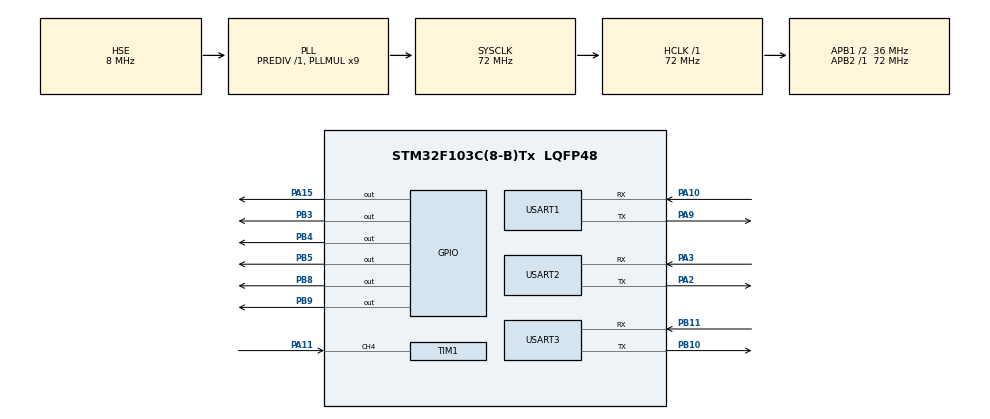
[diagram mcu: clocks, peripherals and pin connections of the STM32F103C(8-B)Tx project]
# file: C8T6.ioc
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Dma.Request0=USART2_RX
Dma.USART2_RX.0.Direction=DMA_PERIPH_TO_MEMORY
Dma.USART2_RX.0.Instance=DMA1_Channel6
Dma.USART2_RX.0.MemDataAlignment=DMA_MDATAALIGN_BYTE
Dma.USART2_RX.0.MemInc=DMA_MINC_ENABLE
Dma.USART2_RX.0.Mode=DMA_NORMAL
Dma.USART2_RX.0.PeriphDataAlignment=DMA_PDATAALIGN_BYTE
Dma.USART2_RX.0.PeriphInc=DMA_PINC_DISABLE
Dma.USART2_RX.0.Priority=DMA_PRIORITY_LOW
Mcu.Family=STM32F1
Mcu.Name=STM32F103C(8-B)Tx
Mcu.Package=LQFP48
NVIC.DMA1_Channel6_IRQn=true\:0\:0\:false\:false\:true\:false\:true
NVIC.PriorityGroup=NVIC_PRIORITYGROUP_4
NVIC.TIM1_CC_IRQn=true\:0\:0\:false\:false\:true\:true\:true
NVIC.TIM2_IRQn=true\:0\:0\:false\:false\:true\:true\:true
NVIC.USART2_IRQn=true\:0\:0\:false\:false\:true\:true\:true
NVIC.USART3_IRQn=true\:0\:0\:false\:false\:true\:true\:true
PA10.Mode=Asynchronous
PA10.Signal=USART1_RX
PA11.Signal=S_TIM1_CH4
PA13.Mode=Serial_Wire
PA13.Signal=SYS_JTMS-SWDIO
PA14.Mode=Serial_Wire
PA14.Signal=SYS_JTCK-SWCLK
PA15.Signal=GPIO_Output
PA2.Mode=Asynchronous
PA2.Signal=USART2_TX
PA3.Mode=Asynchronous
PA3.Signal=USART2_RX
PA9.Mode=Asynchronous
PA9.Signal=USART1_TX
PB10.Mode=Asynchronous
PB10.Signal=USART3_TX
PB11.Mode=Asynchronous
PB11.Signal=USART3_RX
PB3.Signal=GPIO_Output
PB4.Signal=GPIO_Output
PB5.Signal=GPIO_Output
PB8.Signal=GPIO_Output
PB9.Signal=GPIO_Output
PD0-OSC_IN.Mode=HSE-External-Oscillator
PD0-OSC_IN.Signal=RCC_OSC_IN
PD1-OSC_OUT.Mode=HSE-External-Oscillator
PD1-OSC_OUT.Signal=RCC_OSC_OUT
ProjectManager.HeapSize=0x200
ProjectManager.StackSize=0x400
ProjectManager.TargetToolchain=MDK-ARM V5.32
RCC.AHBFreq_Value=72000000
RCC.APB1CLKDivider=RCC_HCLK_DIV2
RCC.APB1Freq_Value=36000000
RCC.APB1TimFreq_Value=72000000
RCC.APB2Freq_Value=72000000
RCC.APB2TimFreq_Value=72000000
RCC.HCLKFreq_Value=72000000
RCC.PLLMUL=RCC_PLL_MUL9
RCC.PLLSourceVirtual=RCC_PLLSOURCE_HSE
RCC.SYSCLKFreq_VALUE=72000000
RCC.SYSCLKSource=RCC_SYSCLKSOURCE_PLLCLK
RCC.USBFreq_Value=72000000
SH.S_TIM1_CH4.0=TIM1_CH4,Input_Capture4_from_TI4
TIM1.Channel-Input_Capture4_from_TI4=TIM_CHANNEL_4
TIM1.Prescaler=71
USART1.VirtualMode=VM_ASYNC
USART2.VirtualMode=VM_ASYNC
USART3.VirtualMode=VM_ASYNC
VP_TIM1_VS_ClockSourceINT.Mode=Internal
VP_TIM2_VS_ClockSourceINT.Mode=Internal
board=custom

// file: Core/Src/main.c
/* USER CODE BEGIN Header */
/**
  ******************************************************************************
  * @file           : main.c
  * @brief          : Main program body
  ******************************************************************************
  * @attention
  *
  * <h2><center>&copy; Copyright (c) 2022 STMicroelectronics.
  * All rights reserved.</center></h2>
  *
  * This software component is licensed by ST under BSD 3-Clause license,
  * the "License"; You may not use this file except in compliance with the
  * License. You may obtain a copy of the License at:
  *                        opensource.org/licenses/BSD-3-Clause
  *
  ******************************************************************************
  */
/* USER CODE END Header */
#include "main.h"
#include "dma.h"
#include "tim.h"
#include "usart.h"
#include "gpio.h"
/* USER CODE BEGIN Includes */
#include "LCD.h"
#include "pic.h"
#include <string.h>
#include "delay.h"
#include <stdio.h>
#include "QR.h"
#include "Rudder_control.h"
#include "iic.h"
#define one 0x31
#define two 0x32
/* USER CODE END Includes */
typedef struct{
	TIM_HandleTypeDef TIM;
	GPIO_TypeDef* GPIO_2;//B相
  uint32_t GPIO_PORT_2;
	uint32_t Channel;			//A相
	uint32_t ActiveChannel;
}wheel;

wheel wheel_1;

uint8_t capture_Cnt[4] = {0};
uint32_t capture_Buf_before[4] = {0},capture_Buf_latter[4] = {0};   //存放计数时间
uint32_t temp_time[4][8] = {0};        			//高电平暂存时间
volatile uint32_t high_time[4] = {0};        			//高电平时间
uint32_t real_time[4] = {0};    					//CCR真实计时
uint8_t frist_flag[4]={0};								  //第一次收集八个数据的标志
uint8_t temp_i[4]={0};
float bo_distance = 0;

void SystemClock_Config(void);

int main(void)
 {

  /* MCU Configuration--------------------------------------------------------*/

  /* Reset of all peripherals, Initializes the Flash interface and the Systick. */
  HAL_Init();

  /* Configure the system clock */
  SystemClock_Config();

  /* Initialize all configured peripherals */
  MX_GPIO_Init();
  MX_DMA_Init();
  MX_TIM1_Init();
  MX_TIM2_Init();
  MX_USART1_UART_Init();
  MX_USART2_UART_Init();
  MX_USART3_UART_Init();
  /* USER CODE BEGIN 2 */
	delay_init();
	QR_init();
	LCD_Init();//LED初始化
	LCD_Fill(0,0,160,128,WHITE);
	LCD_ShowPicture(8,0,143,128,gImage_1);
	Rudder_Init(50);
//	Rudder_control(480,0);//1号380开 480关
//	Rudder_control(250,15);//2号350开 250关

//LCD_ShowPicture(8,0,142,128,gImage_2);
  /* USER CODE END 2 */
	wheel_1.TIM = htim1;
	wheel_1.Channel = TIM_CHANNEL_4;
	wheel_1.ActiveChannel = HAL_TIM_ACTIVE_CHANNEL_4;
	HAL_TIM_IC_Start_IT(&(wheel_1.TIM), wheel_1.Channel);	  //启动输入捕获
	__HAL_TIM_SET_CAPTUREPOLARITY(&wheel_1.TIM, wheel_1.Channel, TIM_INPUTCHANNELPOLARITY_RISING);  //开启上升沿捕获

	for(uint8_t i =0;i<8;i++){
		HAL_GPIO_WritePin(GPIOB,GPIO_PIN_15,GPIO_PIN_SET);
		delay_us(20);
		HAL_GPIO_WritePin(GPIOB,GPIO_PIN_15,GPIO_PIN_RESET);
		HAL_Delay(60);
	}
	bo_distance = (((float)high_time[0])*170.0f);
	uint8_t BO_DATA[4] = {0xFF,0X0,0X0,0X0};
	uint8_t QR_DATA[4] = {0X55,0X0,0X0,0x0};
    Rudder_control(480,0);
	Rudder_control(250,15);
//	Rudder_control(350,0);
//	Rudder_control(400,15);
	uint8_t time=0;
  /* Infinite loop */
  while (1)
  {

		HAL_GPIO_WritePin(GPIOB,GPIO_PIN_15,GPIO_PIN_SET);
		delay_us(20);
		HAL_GPIO_WritePin(GPIOB,GPIO_PIN_15,GPIO_PIN_RESET);
		bo_distance = (((float)high_time[0])*0.17f);  //单位毫米
		BO_DATA[1] = (uint16_t)bo_distance/256;
		BO_DATA[2] = (uint16_t)bo_distance%256;
		BO_DATA[3] = (uint8_t)(BO_DATA[0]+ BO_DATA[1]+BO_DATA[2]);
		HAL_UART_Transmit(&huart1,BO_DATA,4,0xffff);
		HAL_Delay(30);
		if(QR_flag==1){
			QR_flag = 0;
			if((QR_information[0]==one||QR_information[0]==two)&&(QR_information[1]==one||QR_information[1]==two)){
				if(QR_information[0]==one){
					QR_DATA[1] = 0X1;
				}
				else {
					QR_DATA[1] = 0X2;
				}

				if(QR_information[1]==one){
					QR_DATA[2] = 0X1;
				}
				else {
					QR_DATA[2] = 0X2;
				}
				QR_DATA[3] = (uint8_t)(QR_DATA[0]+QR_DATA[1]+QR_DATA[2]);
				while((USART1->SR&0X40)==0);//等待超声波发送完成
				HAL_UART_Transmit(&huart1,QR_DATA,4,0xffff);
		  }
		}
		HAL_Delay(30);
	   if(time==0)//出发时
	   {
		   if(QR_information[0]==0x31)
		   {
			   Rudder_control(350,0);//开1号门

		   }
		   else if(QR_information[0]==0x32)
		   {
				Rudder_control(400,15);//开2号门
		   }
			if(HAL_GPIO_ReadPin(GPIOB,GPIO_PIN_1))
			{
				HAL_Delay(500);
				Rudder_control(480,0);//关
				QR_information[0]=0;
				QR_DATA[1]=0;
				QR_DATA[3] = (uint8_t)(QR_DATA[0]+QR_DATA[1]+QR_DATA[2]);
				HAL_Delay(500);//等待物料放进去
				for(int i=0;i<3;i++)//多次发送避免收不到
				{
					while((USART1->SR&0X40)==0);//等待超声波发送完成
					HAL_UART_Transmit(&huart1,QR_DATA,4,0xffff);
				}
				time=1;
			}
			if(HAL_GPIO_ReadPin(GPIOB,GPIO_PIN_0))
			{
				HAL_Delay(500);
				Rudder_control(250,15);//关
				QR_DATA[1]=0;
				QR_information[0]=0;
				QR_DATA[3] = (uint8_t)(QR_DATA[0]+QR_DATA[1]+QR_DATA[2]);
				HAL_Delay(500);
				for(int i=0;i<3;i++)
				{
					while((USART1->SR&0X40)==0);//等待超声波发送完成
					HAL_UART_Transmit(&huart1,QR_DATA,4,0xffff);
				}
				time=1;
			}

	   }
	    if(time==1&QR_information[0]!=0)//收货区扫到二维码
		{
			if(QR_information[0]==0x31)
			{
				QR_DATA[1] = 0X1;
				QR_DATA[3] = (uint8_t)(QR_DATA[0]+QR_DATA[1]+QR_DATA[2]);
				for(int i=0;i<10;i++)
				{
					while((USART1->SR&0X40)==0);
					HAL_UART_Transmit(&huart1,QR_DATA,4,0xffff);
				}
				Rudder_control(350,0);//开1号门
				while(HAL_GPIO_ReadPin(GPIOB,GPIO_PIN_1))
				{
					QR_information[0]=0;
					QR_DATA[1]=0;
					QR_DATA[3] = (uint8_t)(QR_DATA[0]+QR_DATA[1]+QR_DATA[2]);
				}//拿出物料

				HAL_Delay(500);
				 Rudder_control(480,0);//拿出物料关门

				for(int i=0;i<3;i++)
				{
					while((USART1->SR&0X40)==0);
					HAL_UART_Transmit(&huart1,QR_DATA,4,0xffff);
				}
			}
			else if(QR_information[0]==0X32)
			{
				QR_DATA[1] = 0X1;
				QR_DATA[3] = (uint8_t)(QR_DATA[0]+QR_DATA[1]+QR_DATA[2]);
				for(int i=0;i<10;i++)
				{
					while((USART1->SR&0X40)==0);//等待超声波发送完成
					HAL_UART_Transmit(&huart1,QR_DATA,4,0xffff);
				}
				Rudder_control(400,15);//开2号门
				while(HAL_GPIO_ReadPin(GPIOB,GPIO_PIN_0))
				{

					QR_information[0]=0;
					QR_DATA[1]=0;
					QR_DATA[3] = (uint8_t)(QR_DATA[0]+QR_DATA[1]+QR_DATA[2]);

				}
				 HAL_Delay(500);
				 Rudder_control(250,15);//拿出物料关门

				for(int i=0;i<3;i++)
				{
					while((USART1->SR&0X40)==0);//等待超声波发送完成
					HAL_UART_Transmit(&huart1,QR_DATA,4,0xffff);
				}
			}
		}
  }
}

void SystemClock_Config(void)
{
  RCC_OscInitTypeDef RCC_OscInitStruct = {0};
  RCC_ClkInitTypeDef RCC_ClkInitStruct = {0};

  /** Initializes the RCC Oscillators according to the specified parameters
  * in the RCC_OscInitTypeDef structure.
  */
  RCC_OscInitStruct.OscillatorType = RCC_OSCILLATORTYPE_HSE;
  RCC_OscInitStruct.HSEState = RCC_HSE_ON;
  RCC_OscInitStruct.HSEPredivValue = RCC_HSE_PREDIV_DIV1;
  RCC_OscInitStruct.HSIState = RCC_HSI_ON;
  RCC_OscInitStruct.PLL.PLLState = RCC_PLL_ON;
  RCC_OscInitStruct.PLL.PLLSource = RCC_PLLSOURCE_HSE;
  RCC_OscInitStruct.PLL.PLLMUL = RCC_PLL_MUL9;
  if (HAL_RCC_OscConfig(&RCC_OscInitStruct) != HAL_OK)
  {
    Error_Handler();
  }
  /** Initializes the CPU, AHB and APB buses clocks
  */
  RCC_ClkInitStruct.ClockType = RCC_CLOCKTYPE_HCLK|RCC_CLOCKTYPE_SYSCLK
                              |RCC_CLOCKTYPE_PCLK1|RCC_CLOCKTYPE_PCLK2;
  RCC_ClkInitStruct.SYSCLKSource = RCC_SYSCLKSOURCE_PLLCLK;
  RCC_ClkInitStruct.AHBCLKDivider = RCC_SYSCLK_DIV1;
  RCC_ClkInitStruct.APB1CLKDivider = RCC_HCLK_DIV2;
  RCC_ClkInitStruct.APB2CLKDivider = RCC_HCLK_DIV1;

  if (HAL_RCC_ClockConfig(&RCC_ClkInitStruct, FLASH_LATENCY_2) != HAL_OK)
  {
    Error_Handler();
  }
}

/* USER CODE BEGIN 4 */
void HAL_TIM_IC_CaptureCallback(TIM_HandleTypeDef *htim)
{
	//左上轮
	if(htim->Channel == wheel_1.ActiveChannel)
	{
		switch(capture_Cnt[0]){

			case 0:   //模式1   --------   捕获到上升沿 开始计时
				capture_Buf_before[0] = HAL_TIM_ReadCapturedValue(&(wheel_1.TIM),wheel_1.Channel);//获取当前的捕获值
				__HAL_TIM_SET_CAPTUREPOLARITY(&wheel_1.TIM,wheel_1.Channel,TIM_ICPOLARITY_FALLING);  //设置为下降沿捕获
				capture_Cnt[0]++; //从模式一切换到模式二
				break;

			  case 1:   //  模式二  --------   捕获到下降沿 关闭计时
				capture_Buf_latter[0] = HAL_TIM_ReadCapturedValue(&(wheel_1.TIM),wheel_1.Channel);//获取当前的捕获值
				HAL_TIM_IC_Stop_IT(&wheel_1.TIM,wheel_1.Channel); //停止捕获  或者: __HAL_TIM_DISABLE(&htim5);
				if(capture_Buf_latter[0]<capture_Buf_before[0]){       //溢出计算
				    real_time[0] = (65535-capture_Buf_before[0])+capture_Buf_latter[0] +1;
			   }
			 else{
						real_time[0] =  capture_Buf_latter[0]- capture_Buf_before[0] ;  //没有溢出
			  }
					if(!frist_flag[0]){    //前八次要先收集起来
						temp_time[0][temp_i[0]] = real_time[0];
						temp_i[0]++;
						if(temp_i[0]==8){
							for(uint8_t i =0; i<8;i++){
								real_time[0]+= temp_time[0][i];
							}
							high_time[0] = real_time[0]/8;
							frist_flag[0]=1;
						}
					}
					else{
						high_time[0] = 0;
						memmove(&temp_time[0], &temp_time[0][1], sizeof(uint32_t) * 7);
						temp_time[0][7] = real_time[0];
						for(uint8_t i =0; i<8;i++){
								real_time[0]+= temp_time[0][i];
							}
						high_time[0] = real_time[0]/8;
					}
			  capture_Cnt[0] = 0;  //清空标志
					HAL_TIM_IC_Start_IT(&(wheel_1.TIM), wheel_1.Channel);	  //启动输入捕获
				__HAL_TIM_SET_CAPTUREPOLARITY(&wheel_1.TIM, wheel_1.Channel, TIM_INPUTCHANNELPOLARITY_RISING);  //开启上升沿捕获
			  break;
		 }
	}
}
/* USER CODE END 4 */

void Error_Handler(void)
{
  __disable_irq();
  while (1)
  {
  }
}

/************************ (C) COPYRIGHT STMicroelectronics *****END OF FILE****/
